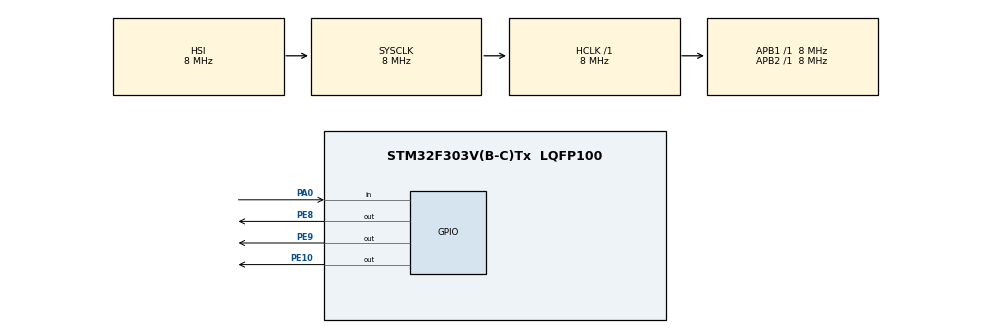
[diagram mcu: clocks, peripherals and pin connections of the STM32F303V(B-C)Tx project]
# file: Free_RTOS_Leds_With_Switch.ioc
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FREERTOS.Tasks01=defaultTask,24,128,StartDefaultTask,Default,NULL,Dynamic,NULL,NULL;Led1Task,8,128,BlinkPE8,Default,NULL,Dynamic,NULL,NULL;Led2Task,8,128,BlinkPE10,Default,NULL,Dynamic,NULL,NULL;ButtonTask,32,128,UserButton,Default,NULL,Dynamic,NULL,NULL;Led3Task,24,128,BlinkPE9,Default,NULL,Dynamic,NULL,NULL
Mcu.Family=STM32F3
Mcu.Name=STM32F303V(B-C)Tx
Mcu.Package=LQFP100
NVIC.PriorityGroup=NVIC_PRIORITYGROUP_4
PA0.Signal=GPIO_Input
PE10.Signal=GPIO_Output
PE8.Signal=GPIO_Output
PE9.Signal=GPIO_Output
ProjectManager.HeapSize=0x200
ProjectManager.StackSize=0x400
ProjectManager.TargetToolchain=STM32CubeIDE
RCC.AHBFreq_Value=8000000
RCC.APB1Freq_Value=8000000
RCC.APB2Freq_Value=8000000
RCC.CortexFreq_Value=8000000
RCC.HSE_VALUE=8000000
RCC.HSI_VALUE=8000000
RCC.LSE_VALUE=32768
RCC.SYSCLKFreq_VALUE=8000000
VP_FREERTOS_VS_CMSIS_V2.Mode=CMSIS_V2
board=custom

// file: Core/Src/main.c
/* USER CODE BEGIN Header */
/**
  ******************************************************************************
  * @file           : main.c
  * @brief          : Main program body
  ******************************************************************************
  * @attention
  *
  * Copyright (c) 2026 STMicroelectronics.
  * All rights reserved.
  *
  * This software is licensed under terms that can be found in the LICENSE file
  * in the root directory of this software component.
  * If no LICENSE file comes with this software, it is provided AS-IS.
  *
  ******************************************************************************
  */
/* USER CODE END Header */
#include "main.h"
#include "cmsis_os.h"

/* USER CODE BEGIN Includes */
#include <stdint.h>

/* RCC */
//#define RCC_BASE        0x40021000
#define RCC_AHBENR      (*(volatile uint32_t*)(RCC_BASE + 0x14))

#define GPIOA_EN        17
#define GPIOE_EN        21

/* GPIOE (LEDs) */
//#define GPIOE_BASE      0x48001000
#define GPIOE_MODER     (*(volatile uint32_t*)(GPIOE_BASE + 0x00))
#define GPIOE_ODR       (*(volatile uint32_t*)(GPIOE_BASE + 0x14))

/* GPIOA (Button) */
//#define GPIOA_BASE      0x48000000
#define GPIOA_MODER     (*(volatile uint32_t*)(GPIOA_BASE + 0x00))
#define GPIOA_IDR       (*(volatile uint32_t*)(GPIOA_BASE + 0x10))

/* Pins */
#define LED1_PIN    8
#define LED2_PIN    10
#define BUTTON_PIN  0
/* USER CODE END Includes */

/* Definitions for defaultTask */
osThreadId_t defaultTaskHandle;
const osThreadAttr_t defaultTask_attributes = {
  .name = "defaultTask",
  .stack_size = 128 * 4,
  .priority = (osPriority_t) osPriorityNormal,
};
/* Definitions for Led1Task */
osThreadId_t Led1TaskHandle;
const osThreadAttr_t Led1Task_attributes = {
  .name = "Led1Task",
  .stack_size = 128 * 4,
  .priority = (osPriority_t) osPriorityLow,
};
/* Definitions for Led2Task */
osThreadId_t Led2TaskHandle;
const osThreadAttr_t Led2Task_attributes = {
  .name = "Led2Task",
  .stack_size = 128 * 4,
  .priority = (osPriority_t) osPriorityLow,
};
/* Definitions for ButtonTask */
osThreadId_t ButtonTaskHandle;
const osThreadAttr_t ButtonTask_attributes = {
  .name = "ButtonTask",
  .stack_size = 128 * 4,
  .priority = (osPriority_t) osPriorityLow,
};
/* USER CODE BEGIN PV */
volatile uint8_t buttonPressed = 0;
/* USER CODE END PV */

void SystemClock_Config(void);
static void MX_GPIO_Init(void);
void StartDefaultTask(void *argument);
void BlinkPE8(void *argument);
void BlinkPE10(void *argument);
void UserButton(void *argument);

int main(void)
{

  /* MCU Configuration--------------------------------------------------------*/

  /* Reset of all peripherals, Initializes the Flash interface and the Systick. */
  HAL_Init();

  /* USER CODE BEGIN Init */
  /* Enable Clocks */
  RCC_AHBENR |= (1 << GPIOE_EN);
  RCC_AHBENR |= (1 << GPIOA_EN);

  /* Configure PE8, PE10 as OUTPUT */
  GPIOE_MODER &= ~((3 << (LED1_PIN*2)) | (3 << (LED2_PIN*2)));
  GPIOE_MODER |=  ((1 << (LED1_PIN*2)) | (1 << (LED2_PIN*2)));

  /* Configure PA0 as INPUT */
  GPIOA_MODER &= ~(3 << (BUTTON_PIN*2));
  /* USER CODE END Init */

  /* Configure the system clock */
  SystemClock_Config();

  /* Initialize all configured peripherals */
  MX_GPIO_Init();

  /* Init scheduler */
  osKernelInitialize();

  /* Create the thread(s) */
  /* creation of defaultTask */
  defaultTaskHandle = osThreadNew(StartDefaultTask, NULL, &defaultTask_attributes);

  /* creation of Led1Task */
  Led1TaskHandle = osThreadNew(BlinkPE8, NULL, &Led1Task_attributes);

  /* creation of Led2Task */
  Led2TaskHandle = osThreadNew(BlinkPE10, NULL, &Led2Task_attributes);

  /* creation of ButtonTask */
  ButtonTaskHandle = osThreadNew(UserButton, NULL, &ButtonTask_attributes);

  /* Start scheduler */
  osKernelStart();

  /* We should never get here as control is now taken by the scheduler */

  /* Infinite loop */
  while (1)
  {

  }
}

void SystemClock_Config(void)
{
  RCC_OscInitTypeDef RCC_OscInitStruct = {0};
  RCC_ClkInitTypeDef RCC_ClkInitStruct = {0};

  /** Initializes the RCC Oscillators according to the specified parameters
  * in the RCC_OscInitTypeDef structure.
  */
  RCC_OscInitStruct.OscillatorType = RCC_OSCILLATORTYPE_HSI;
  RCC_OscInitStruct.HSIState = RCC_HSI_ON;
  RCC_OscInitStruct.HSICalibrationValue = RCC_HSICALIBRATION_DEFAULT;
  RCC_OscInitStruct.PLL.PLLState = RCC_PLL_NONE;
  if (HAL_RCC_OscConfig(&RCC_OscInitStruct) != HAL_OK)
  {
    Error_Handler();
  }

  /** Initializes the CPU, AHB and APB buses clocks
  */
  RCC_ClkInitStruct.ClockType = RCC_CLOCKTYPE_HCLK|RCC_CLOCKTYPE_SYSCLK
                              |RCC_CLOCKTYPE_PCLK1|RCC_CLOCKTYPE_PCLK2;
  RCC_ClkInitStruct.SYSCLKSource = RCC_SYSCLKSOURCE_HSI;
  RCC_ClkInitStruct.AHBCLKDivider = RCC_SYSCLK_DIV1;
  RCC_ClkInitStruct.APB1CLKDivider = RCC_HCLK_DIV1;
  RCC_ClkInitStruct.APB2CLKDivider = RCC_HCLK_DIV1;

  if (HAL_RCC_ClockConfig(&RCC_ClkInitStruct, FLASH_LATENCY_0) != HAL_OK)
  {
    Error_Handler();
  }
}

static void MX_GPIO_Init(void)
{
  GPIO_InitTypeDef GPIO_InitStruct = {0};

  /* GPIO Ports Clock Enable */
  __HAL_RCC_GPIOA_CLK_ENABLE();
  __HAL_RCC_GPIOE_CLK_ENABLE();

  /*Configure GPIO pin Output Level */
  HAL_GPIO_WritePin(GPIOE, GPIO_PIN_8|GPIO_PIN_9, GPIO_PIN_RESET);

  /*Configure GPIO pin : PA0 */
  GPIO_InitStruct.Pin = GPIO_PIN_0;
  GPIO_InitStruct.Mode = GPIO_MODE_INPUT;
  GPIO_InitStruct.Pull = GPIO_NOPULL;
  HAL_GPIO_Init(GPIOA, &GPIO_InitStruct);

  /*Configure GPIO pins : PE8 PE9 */
  GPIO_InitStruct.Pin = GPIO_PIN_8|GPIO_PIN_9;
  GPIO_InitStruct.Mode = GPIO_MODE_OUTPUT_PP;
  GPIO_InitStruct.Pull = GPIO_NOPULL;
  GPIO_InitStruct.Speed = GPIO_SPEED_FREQ_LOW;
  HAL_GPIO_Init(GPIOE, &GPIO_InitStruct);

}

void StartDefaultTask(void *argument)
{
  for(;;)
  {
    osDelay(1);
  }
}

void BlinkPE8(void *argument)
{
  /* USER CODE BEGIN BlinkPE8 */
  /* Infinite loop */
	for(;;)
  {
    if(buttonPressed)
    {
        GPIOE_ODR |= (1 << LED1_PIN);
    }
    else
    {
        GPIOE_ODR ^= (1 << LED1_PIN);
        osDelay(500);
    }
  }}
  /* USER CODE END BlinkPE8 */

void BlinkPE10(void *argument)
{
  /* USER CODE BEGIN BlinkPE10 */
  /* Infinite loop */
	  for(;;)
	  {
	    if(buttonPressed)
	    {
	        GPIOE_ODR |= (1 << LED2_PIN);
	    }
	    else
	    {
	        GPIOE_ODR ^= (1 << LED2_PIN);
	        osDelay(1000);
	    }
	  }
  /* USER CODE END BlinkPE10 */
}

void UserButton(void *argument)
{
  /* USER CODE BEGIN UserButton */
  /* Infinite loop */
	for(;;)
	{
	    if(GPIOA_IDR & (1 << BUTTON_PIN))
	        buttonPressed = 1;
	    else
	        buttonPressed = 0;

	    osDelay(50);
	}
  /* USER CODE END UserButton */
}

void Error_Handler(void)
{
  __disable_irq();
  while (1)
  {
  }
}
